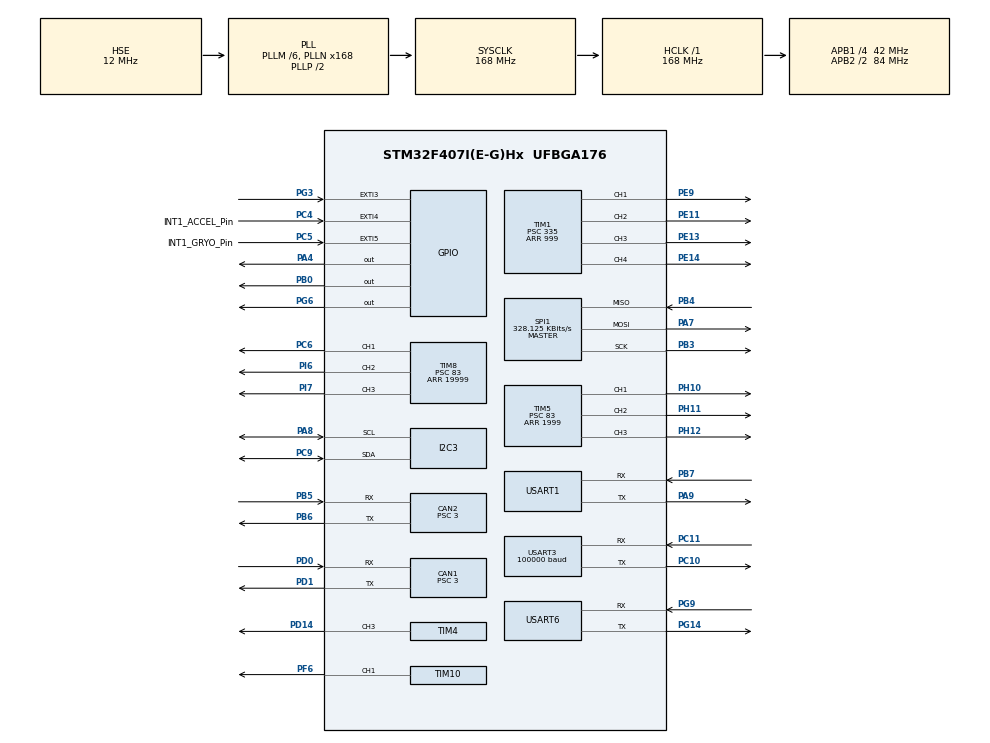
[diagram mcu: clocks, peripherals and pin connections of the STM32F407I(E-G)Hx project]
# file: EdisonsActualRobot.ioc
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CAN1.BS1=CAN_BS1_10TQ
CAN1.BS2=CAN_BS2_3TQ
CAN1.CalculateBaudRate=1000000
CAN1.CalculateTimeBit=1000
CAN1.CalculateTimeQuantum=71.42857142857143
CAN1.Prescaler=3
CAN2.BS1=CAN_BS1_10TQ
CAN2.BS2=CAN_BS2_3TQ
CAN2.CalculateBaudRate=1000000
CAN2.CalculateTimeBit=1000
CAN2.CalculateTimeQuantum=71.42857142857143
CAN2.Prescaler=3
Dma.Request0=USART3_RX
Dma.Request1=USART1_TX
Dma.Request2=USART1_RX
Dma.Request3=USART6_RX
Dma.Request4=USART6_TX
Dma.Request5=TIM1_CH1
Dma.Request6=TIM8_CH1/CH2/CH3
Dma.Request7=TIM4_CH3
Dma.Request8=TIM5_CH1
Dma.Request9=TIM5_CH2
Dma.TIM1_CH1.5.Direction=DMA_PERIPH_TO_MEMORY
Dma.TIM1_CH1.5.FIFOMode=DMA_FIFOMODE_DISABLE
Dma.TIM1_CH1.5.Instance=DMA2_Stream3
Dma.TIM1_CH1.5.MemDataAlignment=DMA_MDATAALIGN_HALFWORD
Dma.TIM1_CH1.5.MemInc=DMA_MINC_ENABLE
Dma.TIM1_CH1.5.Mode=DMA_NORMAL
Dma.TIM1_CH1.5.PeriphDataAlignment=DMA_PDATAALIGN_HALFWORD
Dma.TIM1_CH1.5.PeriphInc=DMA_PINC_DISABLE
Dma.TIM1_CH1.5.Priority=DMA_PRIORITY_LOW
Dma.TIM4_CH3.7.Direction=DMA_PERIPH_TO_MEMORY
Dma.TIM4_CH3.7.FIFOMode=DMA_FIFOMODE_DISABLE
Dma.TIM4_CH3.7.Instance=DMA1_Stream7
Dma.TIM4_CH3.7.MemDataAlignment=DMA_MDATAALIGN_HALFWORD
Dma.TIM4_CH3.7.MemInc=DMA_MINC_ENABLE
Dma.TIM4_CH3.7.Mode=DMA_NORMAL
Dma.TIM4_CH3.7.PeriphDataAlignment=DMA_PDATAALIGN_HALFWORD
Dma.TIM4_CH3.7.PeriphInc=DMA_PINC_DISABLE
Dma.TIM4_CH3.7.Priority=DMA_PRIORITY_LOW
Dma.TIM5_CH1.8.Direction=DMA_PERIPH_TO_MEMORY
Dma.TIM5_CH1.8.FIFOMode=DMA_FIFOMODE_DISABLE
Dma.TIM5_CH1.8.Instance=DMA1_Stream2
Dma.TIM5_CH1.8.MemDataAlignment=DMA_MDATAALIGN_WORD
Dma.TIM5_CH1.8.MemInc=DMA_MINC_ENABLE
Dma.TIM5_CH1.8.Mode=DMA_NORMAL
Dma.TIM5_CH1.8.PeriphDataAlignment=DMA_PDATAALIGN_WORD
Dma.TIM5_CH1.8.PeriphInc=DMA_PINC_DISABLE
Dma.TIM5_CH1.8.Priority=DMA_PRIORITY_LOW
Dma.TIM5_CH2.9.Direction=DMA_PERIPH_TO_MEMORY
Dma.TIM5_CH2.9.FIFOMode=DMA_FIFOMODE_DISABLE
Dma.TIM5_CH2.9.Instance=DMA1_Stream4
Dma.TIM5_CH2.9.MemDataAlignment=DMA_MDATAALIGN_WORD
Dma.TIM5_CH2.9.MemInc=DMA_MINC_ENABLE
Dma.TIM5_CH2.9.Mode=DMA_NORMAL
Dma.TIM5_CH2.9.PeriphDataAlignment=DMA_PDATAALIGN_WORD
Dma.TIM5_CH2.9.PeriphInc=DMA_PINC_DISABLE
Dma.TIM5_CH2.9.Priority=DMA_PRIORITY_LOW
Dma.TIM8_CH1/CH2/CH3.6.Direction=DMA_PERIPH_TO_MEMORY
Dma.TIM8_CH1/CH2/CH3.6.FIFOMode=DMA_FIFOMODE_DISABLE
Dma.TIM8_CH1/CH2/CH3.6.Instance=DMA2_Stream2
Dma.TIM8_CH1/CH2/CH3.6.MemDataAlignment=DMA_MDATAALIGN_HALFWORD
Dma.TIM8_CH1/CH2/CH3.6.MemInc=DMA_MINC_ENABLE
Dma.TIM8_CH1/CH2/CH3.6.Mode=DMA_NORMAL
Dma.TIM8_CH1/CH2/CH3.6.PeriphDataAlignment=DMA_PDATAALIGN_HALFWORD
Dma.TIM8_CH1/CH2/CH3.6.PeriphInc=DMA_PINC_DISABLE
Dma.TIM8_CH1/CH2/CH3.6.Priority=DMA_PRIORITY_LOW
Dma.USART1_RX.2.Direction=DMA_PERIPH_TO_MEMORY
Dma.USART1_RX.2.FIFOMode=DMA_FIFOMODE_DISABLE
Dma.USART1_RX.2.Instance=DMA2_Stream5
Dma.USART1_RX.2.MemDataAlignment=DMA_MDATAALIGN_BYTE
Dma.USART1_RX.2.MemInc=DMA_MINC_ENABLE
Dma.USART1_RX.2.Mode=DMA_NORMAL
Dma.USART1_RX.2.PeriphDataAlignment=DMA_PDATAALIGN_BYTE
Dma.USART1_RX.2.PeriphInc=DMA_PINC_DISABLE
Dma.USART1_RX.2.Priority=DMA_PRIORITY_VERY_HIGH
Dma.USART1_TX.1.Direction=DMA_MEMORY_TO_PERIPH
Dma.USART1_TX.1.FIFOMode=DMA_FIFOMODE_DISABLE
Dma.USART1_TX.1.Instance=DMA2_Stream7
Dma.USART1_TX.1.MemDataAlignment=DMA_MDATAALIGN_BYTE
Dma.USART1_TX.1.MemInc=DMA_MINC_ENABLE
Dma.USART1_TX.1.Mode=DMA_NORMAL
Dma.USART1_TX.1.PeriphDataAlignment=DMA_PDATAALIGN_BYTE
Dma.USART1_TX.1.PeriphInc=DMA_PINC_DISABLE
Dma.USART1_TX.1.Priority=DMA_PRIORITY_VERY_HIGH
Dma.USART3_RX.0.Direction=DMA_PERIPH_TO_MEMORY
Dma.USART3_RX.0.FIFOMode=DMA_FIFOMODE_DISABLE
Dma.USART3_RX.0.Instance=DMA1_Stream1
Dma.USART3_RX.0.MemDataAlignment=DMA_MDATAALIGN_BYTE
Dma.USART3_RX.0.MemInc=DMA_MINC_ENABLE
Dma.USART3_RX.0.Mode=DMA_CIRCULAR
Dma.USART3_RX.0.PeriphDataAlignment=DMA_PDATAALIGN_BYTE
Dma.USART3_RX.0.PeriphInc=DMA_PINC_DISABLE
Dma.USART3_RX.0.Priority=DMA_PRIORITY_VERY_HIGH
Dma.USART6_RX.3.Direction=DMA_PERIPH_TO_MEMORY
Dma.USART6_RX.3.FIFOMode=DMA_FIFOMODE_DISABLE
Dma.USART6_RX.3.Instance=DMA2_Stream1
Dma.USART6_RX.3.MemDataAlignment=DMA_MDATAALIGN_BYTE
Dma.USART6_RX.3.MemInc=DMA_MINC_ENABLE
Dma.USART6_RX.3.Mode=DMA_NORMAL
Dma.USART6_RX.3.PeriphDataAlignment=DMA_PDATAALIGN_BYTE
Dma.USART6_RX.3.PeriphInc=DMA_PINC_DISABLE
Dma.USART6_RX.3.Priority=DMA_PRIORITY_VERY_HIGH
Dma.USART6_TX.4.Direction=DMA_MEMORY_TO_PERIPH
Dma.USART6_TX.4.FIFOMode=DMA_FIFOMODE_DISABLE
Dma.USART6_TX.4.Instance=DMA2_Stream6
Dma.USART6_TX.4.MemDataAlignment=DMA_MDATAALIGN_BYTE
Dma.USART6_TX.4.MemInc=DMA_MINC_ENABLE
Dma.USART6_TX.4.Mode=DMA_NORMAL
Dma.USART6_TX.4.PeriphDataAlignment=DMA_PDATAALIGN_BYTE
Dma.USART6_TX.4.PeriphInc=DMA_PINC_DISABLE
Dma.USART6_TX.4.Priority=DMA_PRIORITY_VERY_HIGH
FREERTOS.INCLUDE_pcTaskGetTaskName=1
FREERTOS.INCLUDE_xTaskGetHandle=1
FREERTOS.Tasks01=defaultTask,32,1024,TaskMain,Default,NULL,Dynamic,NULL,NULL;chassisTask,40,1024,TaskChassis,Default,NULL,Dynamic,NULL,NULL;IMUtempPIDtask,24,512,imu_temp_control_task,As weak,NULL,Dynamic,NULL,NULL;turretTask,24,1024,TaskTurret,Default,NULL,Dynamic,NULL,NULL
FREERTOS.configUSE_NEWLIB_REENTRANT=1
I2C3.I2C_Mode=I2C_Fast
Mcu.Family=STM32F4
Mcu.Name=STM32F407I(E-G)Hx
Mcu.Package=UFBGA176
NVIC.CAN1_RX0_IRQn=true\:5\:0\:false\:false\:true\:true\:true\:true\:true
NVIC.CAN2_RX0_IRQn=true\:5\:0\:false\:false\:true\:true\:true\:true\:true
NVIC.DMA1_Stream1_IRQn=true\:5\:0\:false\:false\:true\:true\:false\:true\:true
NVIC.DMA1_Stream2_IRQn=true\:5\:0\:false\:false\:true\:true\:false\:true\:true
NVIC.DMA1_Stream4_IRQn=true\:5\:0\:false\:false\:true\:true\:false\:true\:true
NVIC.DMA1_Stream7_IRQn=true\:5\:0\:false\:false\:true\:true\:false\:true\:true
NVIC.DMA2_Stream1_IRQn=true\:5\:0\:false\:false\:true\:true\:false\:true\:true
NVIC.DMA2_Stream2_IRQn=true\:5\:0\:false\:false\:true\:true\:false\:true\:true
NVIC.DMA2_Stream3_IRQn=true\:5\:0\:false\:false\:true\:true\:false\:true\:true
NVIC.DMA2_Stream5_IRQn=true\:5\:0\:false\:false\:true\:false\:false\:true\:true
NVIC.DMA2_Stream6_IRQn=true\:5\:0\:false\:false\:true\:true\:false\:true\:true
NVIC.DMA2_Stream7_IRQn=true\:5\:0\:false\:false\:true\:true\:false\:true\:true
NVIC.EXTI3_IRQn=true\:5\:0\:false\:false\:true\:true\:true\:true\:true
NVIC.EXTI4_IRQn=true\:5\:0\:false\:false\:true\:true\:true\:true\:true
NVIC.PriorityGroup=NVIC_PRIORITYGROUP_4
NVIC.USART1_IRQn=true\:5\:0\:false\:false\:true\:true\:true\:true\:true
NVIC.USART3_IRQn=true\:5\:0\:false\:false\:false\:true\:true\:true\:true
NVIC.USART6_IRQn=true\:5\:0\:false\:false\:true\:true\:true\:true\:true
PA13.Mode=Serial_Wire
PA13.Signal=SYS_JTMS-SWDIO
PA14.Mode=Serial_Wire
PA14.Signal=SYS_JTCK-SWCLK
PA4.Signal=GPIO_Output
PA7.Mode=Full_Duplex_Master
PA7.Signal=SPI1_MOSI
PA8.Mode=I2C
PA8.Signal=I2C3_SCL
PA9.Mode=Asynchronous
PA9.Signal=USART1_TX
PB0.Signal=GPIO_Output
PB3.Mode=Full_Duplex_Master
PB3.Signal=SPI1_SCK
PB4.Mode=Full_Duplex_Master
PB4.Signal=SPI1_MISO
PB5.Mode=CAN_Activate
PB5.Signal=CAN2_RX
PB6.Mode=CAN_Activate
PB6.Signal=CAN2_TX
PB7.Mode=Asynchronous
PB7.Signal=USART1_RX
PC10.Mode=Asynchronous
PC10.Signal=USART3_TX
PC11.Mode=Asynchronous
PC11.Signal=USART3_RX
PC4.GPIO_Label=INT1_ACCEL_Pin
PC4.Signal=GPXTI4
PC5.GPIO_Label=INT1_GRYO_Pin
PC5.Signal=GPXTI5
PC6.Signal=S_TIM8_CH1
PC9.Mode=I2C
PC9.Signal=I2C3_SDA
PD0.Mode=CAN_Activate
PD0.Signal=CAN1_RX
PD1.Mode=CAN_Activate
PD1.Signal=CAN1_TX
PD14.Signal=S_TIM4_CH3
PE11.Signal=S_TIM1_CH2
PE13.Signal=S_TIM1_CH3
PE14.Signal=S_TIM1_CH4
PE9.Signal=S_TIM1_CH1
PF6.GPIO_PuPd=GPIO_PULLUP
PF6.GPIO_Speed=GPIO_SPEED_FREQ_HIGH
PF6.Signal=S_TIM10_CH1
PG14.Mode=Asynchronous
PG14.Signal=USART6_TX
PG3.Signal=GPXTI3
PG6.Signal=GPIO_Output
PG9.Mode=Asynchronous
PG9.Signal=USART6_RX
PH0-OSC_IN.Mode=HSE-External-Oscillator
PH0-OSC_IN.Signal=RCC_OSC_IN
PH1-OSC_OUT.Mode=HSE-External-Oscillator
PH1-OSC_OUT.Signal=RCC_OSC_OUT
PH10.Signal=S_TIM5_CH1
PH11.Signal=S_TIM5_CH2
PH12.Signal=S_TIM5_CH3
PI6.Signal=S_TIM8_CH2
PI7.Signal=S_TIM8_CH3
ProjectManager.HeapSize=0x200
ProjectManager.StackSize=0x400
ProjectManager.TargetToolchain=STM32CubeIDE
RCC.48MHZClocksFreq_Value=84000000
RCC.AHBFreq_Value=168000000
RCC.APB1CLKDivider=RCC_HCLK_DIV4
RCC.APB1Freq_Value=42000000
RCC.APB1TimFreq_Value=84000000
RCC.APB2CLKDivider=RCC_HCLK_DIV2
RCC.APB2Freq_Value=84000000
RCC.APB2TimFreq_Value=168000000
RCC.CortexFreq_Value=168000000
RCC.EnbaleCSS=true
RCC.HCLKFreq_Value=168000000
RCC.HSE_VALUE=12000000
RCC.HSI_VALUE=16000000
RCC.LSE_VALUE=32768
RCC.PLLM=6
RCC.PLLN=168
RCC.PLLSourceVirtual=RCC_PLLSOURCE_HSE
RCC.SYSCLKFreq_VALUE=168000000
RCC.SYSCLKSource=RCC_SYSCLKSOURCE_PLLCLK
RCC.VCOOutputFreq_Value=336000000
SH.S_TIM10_CH1.0=TIM10_CH1,PWM Generation1 CH1
SH.S_TIM1_CH1.0=TIM1_CH1,PWM Generation1 CH1
SH.S_TIM1_CH2.0=TIM1_CH2,PWM Generation2 CH2
SH.S_TIM1_CH3.0=TIM1_CH3,PWM Generation3 CH3
SH.S_TIM1_CH4.0=TIM1_CH4,PWM Generation4 CH4
SH.S_TIM4_CH3.0=TIM4_CH3,PWM Generation3 CH3
SH.S_TIM5_CH1.0=TIM5_CH1,PWM Generation1 CH1
SH.S_TIM5_CH2.0=TIM5_CH2,PWM Generation2 CH2
SH.S_TIM5_CH3.0=TIM5_CH3,PWM Generation3 CH3
SH.S_TIM8_CH1.0=TIM8_CH1,PWM Generation1 CH1
SH.S_TIM8_CH2.0=TIM8_CH2,PWM Generation2 CH2
SH.S_TIM8_CH3.0=TIM8_CH3,PWM Generation3 CH3
SPI1.BaudRatePrescaler=SPI_BAUDRATEPRESCALER_256
SPI1.CLKPhase=SPI_PHASE_2EDGE
SPI1.CLKPolarity=SPI_POLARITY_HIGH
SPI1.CalculateBaudRate=328.125 KBits/s
SPI1.Direction=SPI_DIRECTION_2LINES
SPI1.Mode=SPI_MODE_MASTER
SPI1.VirtualType=VM_MASTER
TIM1.AutoReloadPreload=TIM_AUTORELOAD_PRELOAD_DISABLE
TIM1.Channel-PWM\ Generation1\ CH1=TIM_CHANNEL_1
TIM1.Channel-PWM\ Generation2\ CH2=TIM_CHANNEL_2
TIM1.Channel-PWM\ Generation3\ CH3=TIM_CHANNEL_3
TIM1.Channel-PWM\ Generation4\ CH4=TIM_CHANNEL_4
TIM1.Period=999
TIM1.Prescaler=335
TIM1.Pulse-PWM\ Generation1\ CH1=0
TIM10.Channel=TIM_CHANNEL_1
TIM10.Period=4999
TIM4.AutoReloadPreload=TIM_AUTORELOAD_PRELOAD_ENABLE
TIM4.Channel-PWM\ Generation3\ CH3=TIM_CHANNEL_3
TIM4.Period=249
TIM4.Prescaler=83
TIM4.Pulse-PWM\ Generation3\ CH3=10499
TIM5.Channel-PWM\ Generation1\ CH1=TIM_CHANNEL_1
TIM5.Channel-PWM\ Generation2\ CH2=TIM_CHANNEL_2
TIM5.Channel-PWM\ Generation3\ CH3=TIM_CHANNEL_3
TIM5.Period=1999
TIM5.Prescaler=83
TIM8.AutoReloadPreload=TIM_AUTORELOAD_PRELOAD_ENABLE
TIM8.Channel-PWM\ Generation1\ CH1=TIM_CHANNEL_1
TIM8.Channel-PWM\ Generation2\ CH2=TIM_CHANNEL_2
TIM8.Channel-PWM\ Generation3\ CH3=TIM_CHANNEL_3
TIM8.Period=19999
TIM8.Prescaler=83
USART1.VirtualMode=VM_ASYNC
USART3.BaudRate=100000
USART3.Parity=PARITY_EVEN
USART3.VirtualMode=VM_ASYNC
USART6.VirtualMode=VM_ASYNC
VP_FREERTOS_VS_CMSIS_V2.Mode=CMSIS_V2
VP_TIM10_VS_ClockSourceINT.Mode=Enable_Timer
VP_TIM4_VS_ClockSourceINT.Mode=Internal
board=custom

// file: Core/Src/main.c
/* USER CODE BEGIN Header */
/**
  ******************************************************************************
  * @file           : main.c
  * @brief          : Main program body
  ******************************************************************************
  * @attention
  *
  * Copyright (c) 2024 STMicroelectronics.
  * All rights reserved.
  *
  * This software is licensed under terms that can be found in the LICENSE file
  * in the root directory of this software component.
  * If no LICENSE file comes with this software, it is provided AS-IS.
  *
  ******************************************************************************
  */
/* USER CODE END Header */
#include "main.h"
#include "cmsis_os.h"

/* USER CODE BEGIN Includes */
#include "CAN_receive.h"
#include "bsp_can.h"
#include "remote_control.h"
#include "bsp_rc.h"
#include "UART.h"
#include "stdio.h"
#include "stdarg.h"
#include "string.h"
#include "BMI088driver.h"
#include "pid.h"
#include "bsp_imu_pwm.h"
#include "ist8310driver.h"
#include "math.h"
#include "ctrl_handling.h"
#include "pwm.h"
#include "songs.h"
/* USER CODE END Includes */

CAN_HandleTypeDef hcan1;
CAN_HandleTypeDef hcan2;

I2C_HandleTypeDef hi2c3;

SPI_HandleTypeDef hspi1;

TIM_HandleTypeDef htim1;
TIM_HandleTypeDef htim4;
TIM_HandleTypeDef htim5;
TIM_HandleTypeDef htim8;
TIM_HandleTypeDef htim10;
DMA_HandleTypeDef hdma_tim1_ch1;
DMA_HandleTypeDef hdma_tim4_ch3;
DMA_HandleTypeDef hdma_tim5_ch1;
DMA_HandleTypeDef hdma_tim5_ch2;
DMA_HandleTypeDef hdma_tim8_ch1_ch2_ch3;

UART_HandleTypeDef huart1;
UART_HandleTypeDef huart3;
UART_HandleTypeDef huart6;
DMA_HandleTypeDef hdma_usart1_tx;
DMA_HandleTypeDef hdma_usart1_rx;
DMA_HandleTypeDef hdma_usart3_rx;
DMA_HandleTypeDef hdma_usart6_rx;
DMA_HandleTypeDef hdma_usart6_tx;

/* Definitions for defaultTask */
osThreadId_t defaultTaskHandle;
const osThreadAttr_t defaultTask_attributes = {
  .name = "defaultTask",
  .stack_size = 1024 * 4,
  .priority = (osPriority_t) osPriorityAboveNormal,
};
/* Definitions for chassisTask */
osThreadId_t chassisTaskHandle;
const osThreadAttr_t chassisTask_attributes = {
  .name = "chassisTask",
  .stack_size = 1024 * 4,
  .priority = (osPriority_t) osPriorityHigh,
};
/* Definitions for IMUtempPIDtask */
osThreadId_t IMUtempPIDtaskHandle;
const osThreadAttr_t IMUtempPIDtask_attributes = {
  .name = "IMUtempPIDtask",
  .stack_size = 512 * 4,
  .priority = (osPriority_t) osPriorityNormal,
};
/* Definitions for turretTask */
osThreadId_t turretTaskHandle;
const osThreadAttr_t turretTask_attributes = {
  .name = "turretTask",
  .stack_size = 1024 * 4,
  .priority = (osPriority_t) osPriorityNormal,
};
/* USER CODE BEGIN PV */
const RC_ctrl_t *local_rc_ctrl;

PID_preset_t chassisPreset = {3.6, 0.015, 4.2};  //0.8f, 0.025f, 0.95f   {1.6, 0.045, 0.10}; 32 0.42
PID_preset_t yawPresetCurrentRPM = {46, 10.0, 16.4};
PID_preset_t yawPresetVoltageRPM = {50, 8.0, 2.0};
PID_preset_t yawPresetCurrentPosition = {12, 1, 0.0};
PID_preset_t yawPresetVoltagePosition = {36, 0.3, 0.0};
PID_preset_t indexerPreset = {1.1f, 0.02f, -2.4f};
PID_preset_t shooterPreset = {1.20f, 0.12f, 1.60f};
PID_preset_t powerPreset = {0, 0.000000000001, 0};
PID_preset_t customPreset = {0, 0, 0};
PID_preset_t DONUTMOTOR = {50, 8.0, 2.0}; // 46, 10, 16.4

int target = 2000;

can_msg_id_e boardID = CAN_b2b_B_ID;               // remember to change the board ID, board A - chassis, board B - Pitch axis

chassis_motor_config chassis = {{1,2,3,4,0,0,0,0}};
chassis_motor_RPM chassisTargetRPM = {{0,0,0,0,0,0,0,0}};
chassis_motor_current chassisTargetCurrent = {{0,0,0,0,0,0,0,0}};

extern game_status_t game_status;
extern power_heat_data_t power_heat_data;
extern robot_status_t robot_status;
extern b2b_motorCtrl_t b2bMotorCtrl;
extern b2b_gyro_t b2bGyro;
extern pc_control_t pc_control;
extern int8_t whichPWMisOn[11];

float calcChassisPower = 0;

/* USER CODE END PV */

void SystemClock_Config(void);
static void MX_GPIO_Init(void);
static void MX_DMA_Init(void);
static void MX_CAN1_Init(void);
static void MX_CAN2_Init(void);
static void MX_SPI1_Init(void);
static void MX_TIM4_Init(void);
static void MX_USART1_UART_Init(void);
static void MX_USART6_UART_Init(void);
static void MX_TIM1_Init(void);
static void MX_TIM8_Init(void);
static void MX_USART3_UART_Init(void);
static void MX_TIM10_Init(void);
static void MX_I2C3_Init(void);
static void MX_TIM5_Init(void);
void TaskMain(void *argument);
void TaskChassis(void *argument);
void imu_temp_control_task(void *argument);
void TaskTurret(void *argument);

int main(void)
{

  /* MCU Configuration--------------------------------------------------------*/

  /* Reset of all peripherals, Initializes the Flash interface and the Systick. */
  HAL_Init();

  /* Configure the system clock */
  SystemClock_Config();

  /* Initialize all configured peripherals */
  MX_GPIO_Init();
  MX_DMA_Init();
  MX_CAN1_Init();
  MX_CAN2_Init();
  MX_SPI1_Init();
  MX_TIM4_Init();
  MX_USART1_UART_Init();
  MX_USART6_UART_Init();
  MX_TIM1_Init();
  MX_TIM8_Init();
  MX_USART3_UART_Init();
  MX_TIM10_Init();
  MX_I2C3_Init();
  MX_TIM5_Init();
  /* USER CODE BEGIN 2 */
  can_filter_init();
  remote_control_init();
  usart_Init();
  local_rc_ctrl = get_remote_control_point();

  //__HAL_UART_ENABLE_IT(&huart1,UART_IT_IDLE);
  /* USER CODE END 2 */
  PWMInit(&htim1, &htim4, &htim5, &htim8);
  /* Init scheduler */
  osKernelInitialize();

  /* Create the thread(s) */
  /* creation of defaultTask */
  defaultTaskHandle = osThreadNew(TaskMain, NULL, &defaultTask_attributes);

  /* creation of chassisTask */
  chassisTaskHandle = osThreadNew(TaskChassis, NULL, &chassisTask_attributes);

  /* creation of IMUtempPIDtask */
  IMUtempPIDtaskHandle = osThreadNew(imu_temp_control_task, NULL, &IMUtempPIDtask_attributes);

  /* creation of turretTask */
  turretTaskHandle = osThreadNew(TaskTurret, NULL, &turretTask_attributes);

  /* Start scheduler */
  osKernelStart();

  /* We should never get here as control is now taken by the scheduler */

  /* Infinite loop */
  while (1)
  {

  }
}

void SystemClock_Config(void)
{
  RCC_OscInitTypeDef RCC_OscInitStruct = {0};
  RCC_ClkInitTypeDef RCC_ClkInitStruct = {0};

  /** Configure the main internal regulator output voltage
  */
  __HAL_RCC_PWR_CLK_ENABLE();
  __HAL_PWR_VOLTAGESCALING_CONFIG(PWR_REGULATOR_VOLTAGE_SCALE1);

  /** Initializes the RCC Oscillators according to the specified parameters
  * in the RCC_OscInitTypeDef structure.
  */
  RCC_OscInitStruct.OscillatorType = RCC_OSCILLATORTYPE_HSE;
  RCC_OscInitStruct.HSEState = RCC_HSE_ON;
  RCC_OscInitStruct.PLL.PLLState = RCC_PLL_ON;
  RCC_OscInitStruct.PLL.PLLSource = RCC_PLLSOURCE_HSE;
  RCC_OscInitStruct.PLL.PLLM = 6;
  RCC_OscInitStruct.PLL.PLLN = 168;
  RCC_OscInitStruct.PLL.PLLP = RCC_PLLP_DIV2;
  RCC_OscInitStruct.PLL.PLLQ = 4;
  if (HAL_RCC_OscConfig(&RCC_OscInitStruct) != HAL_OK)
  {
    Error_Handler();
  }

  /** Initializes the CPU, AHB and APB buses clocks
  */
  RCC_ClkInitStruct.ClockType = RCC_CLOCKTYPE_HCLK|RCC_CLOCKTYPE_SYSCLK
                              |RCC_CLOCKTYPE_PCLK1|RCC_CLOCKTYPE_PCLK2;
  RCC_ClkInitStruct.SYSCLKSource = RCC_SYSCLKSOURCE_PLLCLK;
  RCC_ClkInitStruct.AHBCLKDivider = RCC_SYSCLK_DIV1;
  RCC_ClkInitStruct.APB1CLKDivider = RCC_HCLK_DIV4;
  RCC_ClkInitStruct.APB2CLKDivider = RCC_HCLK_DIV2;

  if (HAL_RCC_ClockConfig(&RCC_ClkInitStruct, FLASH_LATENCY_5) != HAL_OK)
  {
    Error_Handler();
  }

  /** Enables the Clock Security System
  */
  HAL_RCC_EnableCSS();
}

static void MX_CAN1_Init(void)
{

  hcan1.Instance = CAN1;
  hcan1.Init.Prescaler = 3;
  hcan1.Init.Mode = CAN_MODE_NORMAL;
  hcan1.Init.SyncJumpWidth = CAN_SJW_1TQ;
  hcan1.Init.TimeSeg1 = CAN_BS1_10TQ;
  hcan1.Init.TimeSeg2 = CAN_BS2_3TQ;
  hcan1.Init.TimeTriggeredMode = DISABLE;
  hcan1.Init.AutoBusOff = DISABLE;
  hcan1.Init.AutoWakeUp = DISABLE;
  hcan1.Init.AutoRetransmission = DISABLE;
  hcan1.Init.ReceiveFifoLocked = DISABLE;
  hcan1.Init.TransmitFifoPriority = DISABLE;
  if (HAL_CAN_Init(&hcan1) != HAL_OK)
  {
    Error_Handler();
  }

}

static void MX_CAN2_Init(void)
{

  hcan2.Instance = CAN2;
  hcan2.Init.Prescaler = 3;
  hcan2.Init.Mode = CAN_MODE_NORMAL;
  hcan2.Init.SyncJumpWidth = CAN_SJW_1TQ;
  hcan2.Init.TimeSeg1 = CAN_BS1_10TQ;
  hcan2.Init.TimeSeg2 = CAN_BS2_3TQ;
  hcan2.Init.TimeTriggeredMode = DISABLE;
  hcan2.Init.AutoBusOff = DISABLE;
  hcan2.Init.AutoWakeUp = DISABLE;
  hcan2.Init.AutoRetransmission = DISABLE;
  hcan2.Init.ReceiveFifoLocked = DISABLE;
  hcan2.Init.TransmitFifoPriority = DISABLE;
  if (HAL_CAN_Init(&hcan2) != HAL_OK)
  {
    Error_Handler();
  }

}

static void MX_I2C3_Init(void)
{

  hi2c3.Instance = I2C3;
  hi2c3.Init.ClockSpeed = 400000;
  hi2c3.Init.DutyCycle = I2C_DUTYCYCLE_2;
  hi2c3.Init.OwnAddress1 = 0;
  hi2c3.Init.AddressingMode = I2C_ADDRESSINGMODE_7BIT;
  hi2c3.Init.DualAddressMode = I2C_DUALADDRESS_DISABLE;
  hi2c3.Init.OwnAddress2 = 0;
  hi2c3.Init.GeneralCallMode = I2C_GENERALCALL_DISABLE;
  hi2c3.Init.NoStretchMode = I2C_NOSTRETCH_DISABLE;
  if (HAL_I2C_Init(&hi2c3) != HAL_OK)
  {
    Error_Handler();
  }

}

static void MX_SPI1_Init(void)
{

  /* SPI1 parameter configuration*/
  hspi1.Instance = SPI1;
  hspi1.Init.Mode = SPI_MODE_MASTER;
  hspi1.Init.Direction = SPI_DIRECTION_2LINES;
  hspi1.Init.DataSize = SPI_DATASIZE_8BIT;
  hspi1.Init.CLKPolarity = SPI_POLARITY_HIGH;
  hspi1.Init.CLKPhase = SPI_PHASE_2EDGE;
  hspi1.Init.NSS = SPI_NSS_SOFT;
  hspi1.Init.BaudRatePrescaler = SPI_BAUDRATEPRESCALER_256;
  hspi1.Init.FirstBit = SPI_FIRSTBIT_MSB;
  hspi1.Init.TIMode = SPI_TIMODE_DISABLE;
  hspi1.Init.CRCCalculation = SPI_CRCCALCULATION_DISABLE;
  hspi1.Init.CRCPolynomial = 10;
  if (HAL_SPI_Init(&hspi1) != HAL_OK)
  {
    Error_Handler();
  }

}

static void MX_TIM1_Init(void)
{

  TIM_MasterConfigTypeDef sMasterConfig = {0};
  TIM_OC_InitTypeDef sConfigOC = {0};
  TIM_BreakDeadTimeConfigTypeDef sBreakDeadTimeConfig = {0};

  htim1.Instance = TIM1;
  htim1.Init.Prescaler = 335;
  htim1.Init.CounterMode = TIM_COUNTERMODE_UP;
  htim1.Init.Period = 999;
  htim1.Init.ClockDivision = TIM_CLOCKDIVISION_DIV1;
  htim1.Init.RepetitionCounter = 0;
  htim1.Init.AutoReloadPreload = TIM_AUTORELOAD_PRELOAD_DISABLE;
  if (HAL_TIM_PWM_Init(&htim1) != HAL_OK)
  {
    Error_Handler();
  }
  sMasterConfig.MasterOutputTrigger = TIM_TRGO_RESET;
  sMasterConfig.MasterSlaveMode = TIM_MASTERSLAVEMODE_DISABLE;
  if (HAL_TIMEx_MasterConfigSynchronization(&htim1, &sMasterConfig) != HAL_OK)
  {
    Error_Handler();
  }
  sConfigOC.OCMode = TIM_OCMODE_PWM1;
  sConfigOC.Pulse = 0;
  sConfigOC.OCPolarity = TIM_OCPOLARITY_HIGH;
  sConfigOC.OCNPolarity = TIM_OCNPOLARITY_HIGH;
  sConfigOC.OCFastMode = TIM_OCFAST_DISABLE;
  sConfigOC.OCIdleState = TIM_OCIDLESTATE_RESET;
  sConfigOC.OCNIdleState = TIM_OCNIDLESTATE_RESET;
  if (HAL_TIM_PWM_ConfigChannel(&htim1, &sConfigOC, TIM_CHANNEL_1) != HAL_OK)
  {
    Error_Handler();
  }
  if (HAL_TIM_PWM_ConfigChannel(&htim1, &sConfigOC, TIM_CHANNEL_2) != HAL_OK)
  {
    Error_Handler();
  }
  if (HAL_TIM_PWM_ConfigChannel(&htim1, &sConfigOC, TIM_CHANNEL_3) != HAL_OK)
  {
    Error_Handler();
  }
  if (HAL_TIM_PWM_ConfigChannel(&htim1, &sConfigOC, TIM_CHANNEL_4) != HAL_OK)
  {
    Error_Handler();
  }
  sBreakDeadTimeConfig.OffStateRunMode = TIM_OSSR_DISABLE;
  sBreakDeadTimeConfig.OffStateIDLEMode = TIM_OSSI_DISABLE;
  sBreakDeadTimeConfig.LockLevel = TIM_LOCKLEVEL_OFF;
  sBreakDeadTimeConfig.DeadTime = 0;
  sBreakDeadTimeConfig.BreakState = TIM_BREAK_DISABLE;
  sBreakDeadTimeConfig.BreakPolarity = TIM_BREAKPOLARITY_HIGH;
  sBreakDeadTimeConfig.AutomaticOutput = TIM_AUTOMATICOUTPUT_DISABLE;
  if (HAL_TIMEx_ConfigBreakDeadTime(&htim1, &sBreakDeadTimeConfig) != HAL_OK)
  {
    Error_Handler();
  }
  HAL_TIM_MspPostInit(&htim1);

}

static void MX_TIM4_Init(void)
{

  TIM_ClockConfigTypeDef sClockSourceConfig = {0};
  TIM_MasterConfigTypeDef sMasterConfig = {0};
  TIM_OC_InitTypeDef sConfigOC = {0};

  htim4.Instance = TIM4;
  htim4.Init.Prescaler = 83;
  htim4.Init.CounterMode = TIM_COUNTERMODE_UP;
  htim4.Init.Period = 249;
  htim4.Init.ClockDivision = TIM_CLOCKDIVISION_DIV1;
  htim4.Init.AutoReloadPreload = TIM_AUTORELOAD_PRELOAD_ENABLE;
  if (HAL_TIM_Base_Init(&htim4) != HAL_OK)
  {
    Error_Handler();
  }
  sClockSourceConfig.ClockSource = TIM_CLOCKSOURCE_INTERNAL;
  if (HAL_TIM_ConfigClockSource(&htim4, &sClockSourceConfig) != HAL_OK)
  {
    Error_Handler();
  }
  if (HAL_TIM_PWM_Init(&htim4) != HAL_OK)
  {
    Error_Handler();
  }
  sMasterConfig.MasterOutputTrigger = TIM_TRGO_RESET;
  sMasterConfig.MasterSlaveMode = TIM_MASTERSLAVEMODE_DISABLE;
  if (HAL_TIMEx_MasterConfigSynchronization(&htim4, &sMasterConfig) != HAL_OK)
  {
    Error_Handler();
  }
  sConfigOC.OCMode = TIM_OCMODE_PWM1;
  sConfigOC.Pulse = 10499;
  sConfigOC.OCPolarity = TIM_OCPOLARITY_HIGH;
  sConfigOC.OCFastMode = TIM_OCFAST_DISABLE;
  if (HAL_TIM_PWM_ConfigChannel(&htim4, &sConfigOC, TIM_CHANNEL_3) != HAL_OK)
  {
    Error_Handler();
  }
  HAL_TIM_MspPostInit(&htim4);

}

static void MX_TIM5_Init(void)
{

  TIM_MasterConfigTypeDef sMasterConfig = {0};
  TIM_OC_InitTypeDef sConfigOC = {0};

  htim5.Instance = TIM5;
  htim5.Init.Prescaler = 83;
  htim5.Init.CounterMode = TIM_COUNTERMODE_UP;
  htim5.Init.Period = 1999;
  htim5.Init.ClockDivision = TIM_CLOCKDIVISION_DIV1;
  htim5.Init.AutoReloadPreload = TIM_AUTORELOAD_PRELOAD_DISABLE;
  if (HAL_TIM_PWM_Init(&htim5) != HAL_OK)
  {
    Error_Handler();
  }
  sMasterConfig.MasterOutputTrigger = TIM_TRGO_RESET;
  sMasterConfig.MasterSlaveMode = TIM_MASTERSLAVEMODE_DISABLE;
  if (HAL_TIMEx_MasterConfigSynchronization(&htim5, &sMasterConfig) != HAL_OK)
  {
    Error_Handler();
  }
  sConfigOC.OCMode = TIM_OCMODE_PWM1;
  sConfigOC.Pulse = 0;
  sConfigOC.OCPolarity = TIM_OCPOLARITY_HIGH;
  sConfigOC.OCFastMode = TIM_OCFAST_DISABLE;
  if (HAL_TIM_PWM_ConfigChannel(&htim5, &sConfigOC, TIM_CHANNEL_1) != HAL_OK)
  {
    Error_Handler();
  }
  if (HAL_TIM_PWM_ConfigChannel(&htim5, &sConfigOC, TIM_CHANNEL_2) != HAL_OK)
  {
    Error_Handler();
  }
  if (HAL_TIM_PWM_ConfigChannel(&htim5, &sConfigOC, TIM_CHANNEL_3) != HAL_OK)
  {
    Error_Handler();
  }
  HAL_TIM_MspPostInit(&htim5);

}

static void MX_TIM8_Init(void)
{

  TIM_MasterConfigTypeDef sMasterConfig = {0};
  TIM_OC_InitTypeDef sConfigOC = {0};
  TIM_BreakDeadTimeConfigTypeDef sBreakDeadTimeConfig = {0};

  htim8.Instance = TIM8;
  htim8.Init.Prescaler = 83;
  htim8.Init.CounterMode = TIM_COUNTERMODE_UP;
  htim8.Init.Period = 19999;
  htim8.Init.ClockDivision = TIM_CLOCKDIVISION_DIV1;
  htim8.Init.RepetitionCounter = 0;
  htim8.Init.AutoReloadPreload = TIM_AUTORELOAD_PRELOAD_ENABLE;
  if (HAL_TIM_PWM_Init(&htim8) != HAL_OK)
  {
    Error_Handler();
  }
  sMasterConfig.MasterOutputTrigger = TIM_TRGO_RESET;
  sMasterConfig.MasterSlaveMode = TIM_MASTERSLAVEMODE_DISABLE;
  if (HAL_TIMEx_MasterConfigSynchronization(&htim8, &sMasterConfig) != HAL_OK)
  {
    Error_Handler();
  }
  sConfigOC.OCMode = TIM_OCMODE_PWM1;
  sConfigOC.Pulse = 0;
  sConfigOC.OCPolarity = TIM_OCPOLARITY_HIGH;
  sConfigOC.OCNPolarity = TIM_OCNPOLARITY_HIGH;
  sConfigOC.OCFastMode = TIM_OCFAST_DISABLE;
  sConfigOC.OCIdleState = TIM_OCIDLESTATE_RESET;
  sConfigOC.OCNIdleState = TIM_OCNIDLESTATE_RESET;
  if (HAL_TIM_PWM_ConfigChannel(&htim8, &sConfigOC, TIM_CHANNEL_1) != HAL_OK)
  {
    Error_Handler();
  }
  if (HAL_TIM_PWM_ConfigChannel(&htim8, &sConfigOC, TIM_CHANNEL_2) != HAL_OK)
  {
    Error_Handler();
  }
  if (HAL_TIM_PWM_ConfigChannel(&htim8, &sConfigOC, TIM_CHANNEL_3) != HAL_OK)
  {
    Error_Handler();
  }
  sBreakDeadTimeConfig.OffStateRunMode = TIM_OSSR_DISABLE;
  sBreakDeadTimeConfig.OffStateIDLEMode = TIM_OSSI_DISABLE;
  sBreakDeadTimeConfig.LockLevel = TIM_LOCKLEVEL_OFF;
  sBreakDeadTimeConfig.DeadTime = 0;
  sBreakDeadTimeConfig.BreakState = TIM_BREAK_DISABLE;
  sBreakDeadTimeConfig.BreakPolarity = TIM_BREAKPOLARITY_HIGH;
  sBreakDeadTimeConfig.AutomaticOutput = TIM_AUTOMATICOUTPUT_DISABLE;
  if (HAL_TIMEx_ConfigBreakDeadTime(&htim8, &sBreakDeadTimeConfig) != HAL_OK)
  {
    Error_Handler();
  }
  HAL_TIM_MspPostInit(&htim8);

}

static void MX_TIM10_Init(void)
{

  TIM_OC_InitTypeDef sConfigOC = {0};

  htim10.Instance = TIM10;
  htim10.Init.Prescaler = 0;
  htim10.Init.CounterMode = TIM_COUNTERMODE_UP;
  htim10.Init.Period = 4999;
  htim10.Init.ClockDivision = TIM_CLOCKDIVISION_DIV1;
  htim10.Init.AutoReloadPreload = TIM_AUTORELOAD_PRELOAD_DISABLE;
  if (HAL_TIM_Base_Init(&htim10) != HAL_OK)
  {
    Error_Handler();
  }
  if (HAL_TIM_PWM_Init(&htim10) != HAL_OK)
  {
    Error_Handler();
  }
  sConfigOC.OCMode = TIM_OCMODE_PWM1;
  sConfigOC.Pulse = 0;
  sConfigOC.OCPolarity = TIM_OCPOLARITY_HIGH;
  sConfigOC.OCFastMode = TIM_OCFAST_DISABLE;
  if (HAL_TIM_PWM_ConfigChannel(&htim10, &sConfigOC, TIM_CHANNEL_1) != HAL_OK)
  {
    Error_Handler();
  }
  HAL_TIM_MspPostInit(&htim10);

}

static void MX_USART1_UART_Init(void)
{

  huart1.Instance = USART1;
  huart1.Init.BaudRate = 115200;
  huart1.Init.WordLength = UART_WORDLENGTH_8B;
  huart1.Init.StopBits = UART_STOPBITS_1;
  huart1.Init.Parity = UART_PARITY_NONE;
  huart1.Init.Mode = UART_MODE_TX_RX;
  huart1.Init.HwFlowCtl = UART_HWCONTROL_NONE;
  huart1.Init.OverSampling = UART_OVERSAMPLING_16;
  if (HAL_UART_Init(&huart1) != HAL_OK)
  {
    Error_Handler();
  }

}

static void MX_USART3_UART_Init(void)
{

  huart3.Instance = USART3;
  huart3.Init.BaudRate = 100000;
  huart3.Init.WordLength = UART_WORDLENGTH_8B;
  huart3.Init.StopBits = UART_STOPBITS_1;
  huart3.Init.Parity = UART_PARITY_EVEN;
  huart3.Init.Mode = UART_MODE_TX_RX;
  huart3.Init.HwFlowCtl = UART_HWCONTROL_NONE;
  huart3.Init.OverSampling = UART_OVERSAMPLING_16;
  if (HAL_UART_Init(&huart3) != HAL_OK)
  {
    Error_Handler();
  }

}

static void MX_USART6_UART_Init(void)
{

  huart6.Instance = USART6;
  huart6.Init.BaudRate = 115200;
  huart6.Init.WordLength = UART_WORDLENGTH_8B;
  huart6.Init.StopBits = UART_STOPBITS_1;
  huart6.Init.Parity = UART_PARITY_NONE;
  huart6.Init.Mode = UART_MODE_TX_RX;
  huart6.Init.HwFlowCtl = UART_HWCONTROL_NONE;
  huart6.Init.OverSampling = UART_OVERSAMPLING_16;
  if (HAL_UART_Init(&huart6) != HAL_OK)
  {
    Error_Handler();
  }

}

static void MX_DMA_Init(void)
{

  /* DMA controller clock enable */
  __HAL_RCC_DMA1_CLK_ENABLE();
  __HAL_RCC_DMA2_CLK_ENABLE();

  /* DMA interrupt init */
  /* DMA1_Stream1_IRQn interrupt configuration */
  HAL_NVIC_SetPriority(DMA1_Stream1_IRQn, 5, 0);
  HAL_NVIC_EnableIRQ(DMA1_Stream1_IRQn);
  /* DMA1_Stream2_IRQn interrupt configuration */
  HAL_NVIC_SetPriority(DMA1_Stream2_IRQn, 5, 0);
  HAL_NVIC_EnableIRQ(DMA1_Stream2_IRQn);
  /* DMA1_Stream4_IRQn interrupt configuration */
  HAL_NVIC_SetPriority(DMA1_Stream4_IRQn, 5, 0);
  HAL_NVIC_EnableIRQ(DMA1_Stream4_IRQn);
  /* DMA1_Stream7_IRQn interrupt configuration */
  HAL_NVIC_SetPriority(DMA1_Stream7_IRQn, 5, 0);
  HAL_NVIC_EnableIRQ(DMA1_Stream7_IRQn);
  /* DMA2_Stream1_IRQn interrupt configuration */
  HAL_NVIC_SetPriority(DMA2_Stream1_IRQn, 5, 0);
  HAL_NVIC_EnableIRQ(DMA2_Stream1_IRQn);
  /* DMA2_Stream2_IRQn interrupt configuration */
  HAL_NVIC_SetPriority(DMA2_Stream2_IRQn, 5, 0);
  HAL_NVIC_EnableIRQ(DMA2_Stream2_IRQn);
  /* DMA2_Stream3_IRQn interrupt configuration */
  HAL_NVIC_SetPriority(DMA2_Stream3_IRQn, 5, 0);
  HAL_NVIC_EnableIRQ(DMA2_Stream3_IRQn);
  /* DMA2_Stream5_IRQn interrupt configuration */
  HAL_NVIC_SetPriority(DMA2_Stream5_IRQn, 5, 0);
  HAL_NVIC_EnableIRQ(DMA2_Stream5_IRQn);
  /* DMA2_Stream6_IRQn interrupt configuration */
  HAL_NVIC_SetPriority(DMA2_Stream6_IRQn, 5, 0);
  HAL_NVIC_EnableIRQ(DMA2_Stream6_IRQn);
  /* DMA2_Stream7_IRQn interrupt configuration */
  HAL_NVIC_SetPriority(DMA2_Stream7_IRQn, 5, 0);
  HAL_NVIC_EnableIRQ(DMA2_Stream7_IRQn);

}

static void MX_GPIO_Init(void)
{
  GPIO_InitTypeDef GPIO_InitStruct = {0};

  /* GPIO Ports Clock Enable */
  __HAL_RCC_GPIOB_CLK_ENABLE();
  __HAL_RCC_GPIOG_CLK_ENABLE();
  __HAL_RCC_GPIOA_CLK_ENABLE();
  __HAL_RCC_GPIOD_CLK_ENABLE();
  __HAL_RCC_GPIOC_CLK_ENABLE();
  __HAL_RCC_GPIOI_CLK_ENABLE();
  __HAL_RCC_GPIOH_CLK_ENABLE();
  __HAL_RCC_GPIOF_CLK_ENABLE();
  __HAL_RCC_GPIOE_CLK_ENABLE();

  /*Configure GPIO pin Output Level */
  HAL_GPIO_WritePin(GPIOG, GPIO_PIN_6, GPIO_PIN_RESET);

  /*Configure GPIO pin Output Level */
  HAL_GPIO_WritePin(GPIOA, GPIO_PIN_4, GPIO_PIN_RESET);

  /*Configure GPIO pin Output Level */
  HAL_GPIO_WritePin(GPIOB, GPIO_PIN_0, GPIO_PIN_RESET);

  /*Configure GPIO pin : PG6 */
  GPIO_InitStruct.Pin = GPIO_PIN_6;
  GPIO_InitStruct.Mode = GPIO_MODE_OUTPUT_PP;
  GPIO_InitStruct.Pull = GPIO_NOPULL;
  GPIO_InitStruct.Speed = GPIO_SPEED_FREQ_LOW;
  HAL_GPIO_Init(GPIOG, &GPIO_InitStruct);

  /*Configure GPIO pin : PG3 */
  GPIO_InitStruct.Pin = GPIO_PIN_3;
  GPIO_InitStruct.Mode = GPIO_MODE_IT_RISING;
  GPIO_InitStruct.Pull = GPIO_NOPULL;
  HAL_GPIO_Init(GPIOG, &GPIO_InitStruct);

  /*Configure GPIO pin : PA4 */
  GPIO_InitStruct.Pin = GPIO_PIN_4;
  GPIO_InitStruct.Mode = GPIO_MODE_OUTPUT_PP;
  GPIO_InitStruct.Pull = GPIO_NOPULL;
  GPIO_InitStruct.Speed = GPIO_SPEED_FREQ_LOW;
  HAL_GPIO_Init(GPIOA, &GPIO_InitStruct);

  /*Configure GPIO pins : INT1_ACCEL_Pin_Pin INT1_GRYO_Pin_Pin */
  GPIO_InitStruct.Pin = INT1_ACCEL_Pin_Pin|INT1_GRYO_Pin_Pin;
  GPIO_InitStruct.Mode = GPIO_MODE_IT_RISING;
  GPIO_InitStruct.Pull = GPIO_NOPULL;
  HAL_GPIO_Init(GPIOC, &GPIO_InitStruct);

  /*Configure GPIO pin : PB0 */
  GPIO_InitStruct.Pin = GPIO_PIN_0;
  GPIO_InitStruct.Mode = GPIO_MODE_OUTPUT_PP;
  GPIO_InitStruct.Pull = GPIO_NOPULL;
  GPIO_InitStruct.Speed = GPIO_SPEED_FREQ_LOW;
  HAL_GPIO_Init(GPIOB, &GPIO_InitStruct);

  /* EXTI interrupt init*/
  HAL_NVIC_SetPriority(EXTI3_IRQn, 5, 0);
  HAL_NVIC_EnableIRQ(EXTI3_IRQn);

  HAL_NVIC_SetPriority(EXTI4_IRQn, 5, 0);
  HAL_NVIC_EnableIRQ(EXTI4_IRQn);

}

/* USER CODE BEGIN 4 */
int16_t positionPIDByMe(int16_t *prevDiff, int8_t *isNegativeRegion1, int8_t *previousRegion1, int16_t DifferenceBetweenCurrentAndWannabePosition, int16_t *sumI1, float kPu, float kIu, float kDu) {
	if (DifferenceBetweenCurrentAndWannabePosition >= 0) {
		*isNegativeRegion1 = -1;
	} else {
		*isNegativeRegion1 = 1;
	}
	if (*isNegativeRegion1 != *previousRegion1) {
		*sumI1 = 0;
	}
	*previousRegion1 = *isNegativeRegion1;
	*sumI1 += (int)((float)(DifferenceBetweenCurrentAndWannabePosition)*0.005f);
	int16_t PositionToGo = (int)(kPu*(float)(DifferenceBetweenCurrentAndWannabePosition));
	int16_t IntegralToGo = (int)(kIu*((float)(*sumI1)));
	int16_t DerivativeToGo = (int)((kDu)*((float)(DifferenceBetweenCurrentAndWannabePosition - *prevDiff))*(float)200);
	*prevDiff = DifferenceBetweenCurrentAndWannabePosition;
	return PositionToGo+IntegralToGo+DerivativeToGo;
}
/* USER CODE END 4 */

void TaskMain(void *argument)
{
  /* USER CODE BEGIN 5 */
  /* Infinite loop */
	// HAL_GPIO_WritePin(GPIOH, GPIO_PIN_10, 1);
	// __HAL_TIM_PRESCALER(&htim4, 2);
	// HAL_TIM_PWM_Start(&htim4, TIM_CHANNEL_3);
	// HAL_TIM_Base_Start(&htim4);
	if (BMI088_accel_init()) {
		// usart_printf("WARNING - BMI088 accelerometer init failed \r\n");
	}
	if (BMI088_gyro_init()) {
		// usart_printf("WARNING - BMI088 gyroscope init failed \r\n");
	}
	if (ist8310_init()) {
		// usart_printf("WARNING - IST8310 compass init failed \r\n");
	}
	// (htim5).Instance->CCR2=999;
	// osDelay(150);
	// __HAL_TIM_PRESCALER(&htim4, 0);
	// osDelay(150);
	// HAL_TIM_PWM_Stop(&htim4, TIM_CHANNEL_3);
	for(;;) {
		// HAL_GPIO_WritePin(GPIOH, GPIO_PIN_10, 0);
		//set_motor_voltage(5, 4000);

		// HAL_TIM_PWM_Start(&htim5, TIM_CHANNEL_2);

		// PWMOn(LED,1);
		PWMOutput(LED, 1, 500);
		PWMInitialize(LED, FR, 1, 0.9);
		// PWMTimerStarter();
		usart_printf("on\r\n");
		osDelay(500);
		//sendB2bData(CAN_b2b_A_ID, 1, 1, 1, 1);
		// HAL_GPIO_WritePin(GPIOH, GPIO_PIN_10, 1);
		//set_motor_voltage(5, -4000);
		// HAL_TIM_PWM_Stop(&htim5, TIM_CHANNEL_2);
		PWMOff(LED, 1);
		// PWMTimerStarter();
		usart_printf("off\r\n");
		osDelay(500);
		//sendB2bData(CAN_b2b_A_ID, 0, 0, 0, 0);
		//usart_printf("ACTIVE = %d \r\n", power_heat_data.chassis_power);
	}
  /* USER CODE END 5 */
}

void TaskChassis(void *argument)
{
  /* USER CODE BEGIN TaskChassis */
	/* USER CODE BEGIN TaskChassis */
	int16_t rcRPM[4] = {0,0,0,0};                              // maps rc percentage reading to motors, assuming we're running M3508s at max 469RPM
	int16_t rcPitch = 0;                                   // range: 3376 ~ 2132
	//int16_t targetRPM[4] = {0,0,0,0};
  /* Infinite loop */

	// Test Code
	/*
	HAL_TIM_Base_Start(&htim1);
	HAL_TIM_Base_Start(&htim4);
	HAL_TIM_PWM_Start(&htim1, TIM_CHANNEL_1);
	HAL_TIM_PWM_Start(&htim1, TIM_CHANNEL_2);
	HAL_TIM_PWM_Start(&htim4, TIM_CHANNEL_3);
	htim4.Instance->CCR3=0;
	*/

	int8_t motorOn = 0;
	int8_t switched = 0;
	int8_t shot1Round = 0;
	//int8_t RNC = 0;
	int16_t sumI1 =0;
	int16_t sumI2 =0;
	int16_t sumI3 =0;
	int16_t sumI4 =0;
	int8_t isNegativeRegion1 = 0;
	int8_t isNegativeRegion2 = 0;
	int8_t isNegativeRegion3 = 0;
	int8_t isNegativeRegion4 = 0;
	int8_t previousRegion1 = 0;
	int8_t previousRegion2 = 0;
	int8_t previousRegion3 = 0;
	int8_t previousRegion4 = 0;
	int16_t prevDiff1 = 0;
	int16_t prevDiff2 = 0;
	int16_t prevDiff3 = 0;
	int16_t prevDiff4 = 0;

	int16_t shooterMotor = 0;
	// int16_t pR = 0;
	//int8_t counter = 0;
	uint16_t testmotor = 6161;
	uint16_t pivoter = 0;
	double angle = 0;
	int16_t xJoystickDirection = 0;
	int16_t yJoystickDirection = 0;
	int16_t rotationOfChassis = 0;
	// Total Rotation is 1.25 times for 90degrees therefore motor has to rotate
	// PID onto this (This is the hypothetical orientation)
	int16_t chassisOrientation = 0;
	int16_t chassisPID = 0;
	int16_t rcVal2 = 0;

	int16_t randomOrientations[24] = {-380, -202, 462, -114, 240, -210, 150, 170, 248, 106, 118, 538, -260, -288, -120, 86, -264, 452, -592, 390, -410, 414, 54, -542};
	int16_t startingVal = 0;
	int8_t started = 0;
	uint8_t increment = 0;
	int16_t instancesCounter = 0;

	int16_t previousVal = 0;
	int32_t rotationalVal = 0;
	int16_t revolutions = 0;
	int8_t resetPerStart = 0;
	int32_t rotationTarget = 0;
	int32_t posForGunMotor = 0;
	int8_t burst = 3;

	int8_t customFiringModeSwitcher = 0;
	int8_t startedChecking = 0;
	int8_t switchedDown = 0;
	int8_t finalTHing = 0;
	int16_t counterForSwitching = 0;

	int16_t buzzLengthCounter = 0;
	int8_t beepingInProgress = 0;
	int8_t beeped = 1;

	int16_t rotationCompStab = 0;
	int16_t testTHing[11] = {0, 0, 0, 0, 0, 0, 0, 0, 0, 0, 0};

	/*
	float rotationPositionZ = 0;
	float rotationPositionY = 0;
	int8_t average = 5;
	int16_t averageY[average];
	for (int i = 0; i < average; i++) {
		averageY[i] = 0;
	}
	*/

	for(;;) {

		for (int i = 0; i < 4; i++) {
			rcRPM[i] = getRCchannel(i) * 13.645f;              // 13.645 = 469 / 187 / 660 * 3591, 660 = max reading in one direction
		}

		xJoystickDirection = rcRPM[2];
		yJoystickDirection = rcRPM[3];
		rotationOfChassis = rcRPM[0];

		chassisTargetRPM.motorRPM[0] = 1000;
		chassisTargetRPM.motorRPM[1] = 1000;
		chassisTargetRPM.motorRPM[2] = 1000;
		chassisTargetRPM.motorRPM[3] = 1000;

		//2640
		// 420

		int16_t turretPitch = (getRCchannel(1)*0.63f)+2640;

		float kPu = 0.5;
		float kIu = 0;
		float kDu = 0;

		int16_t pitchMotorPosition = getMotorPosition(9);

		int16_t DifferenceBetweenCurrentAndWannabePosition = turretPitch-pitchMotorPosition;

		setGM6020voltageRPM(9, positionPIDByMe(&prevDiff1, &isNegativeRegion1, &previousRegion1, DifferenceBetweenCurrentAndWannabePosition, &sumI1, kPu, kIu, kDu), DONUTMOTOR);

		setM3508RPM(1, chassisTargetRPM.motorRPM[0], chassisPreset);
		setM3508RPM(2, chassisTargetRPM.motorRPM[1], chassisPreset);
		setM3508RPM(3, chassisTargetRPM.motorRPM[2], chassisPreset);
		setM3508RPM(4, chassisTargetRPM.motorRPM[3], chassisPreset);

		usart_printf("%d %d\r\n", pitchMotorPosition, getMotorCurrent(9));

		PWMTimerStarter();
		osDelay(5);
    }
  /* USER CODE END TaskChassis */
}

__weak void imu_temp_control_task(void *argument)
{
  for(;;)
  {
    osDelay(1);
  }
}

void TaskTurret(void *argument)
{
  for(;;)
  {
    osDelay(1);
  }
}

void Error_Handler(void)
{
  __disable_irq();
  while (1)
  {
  }
}
